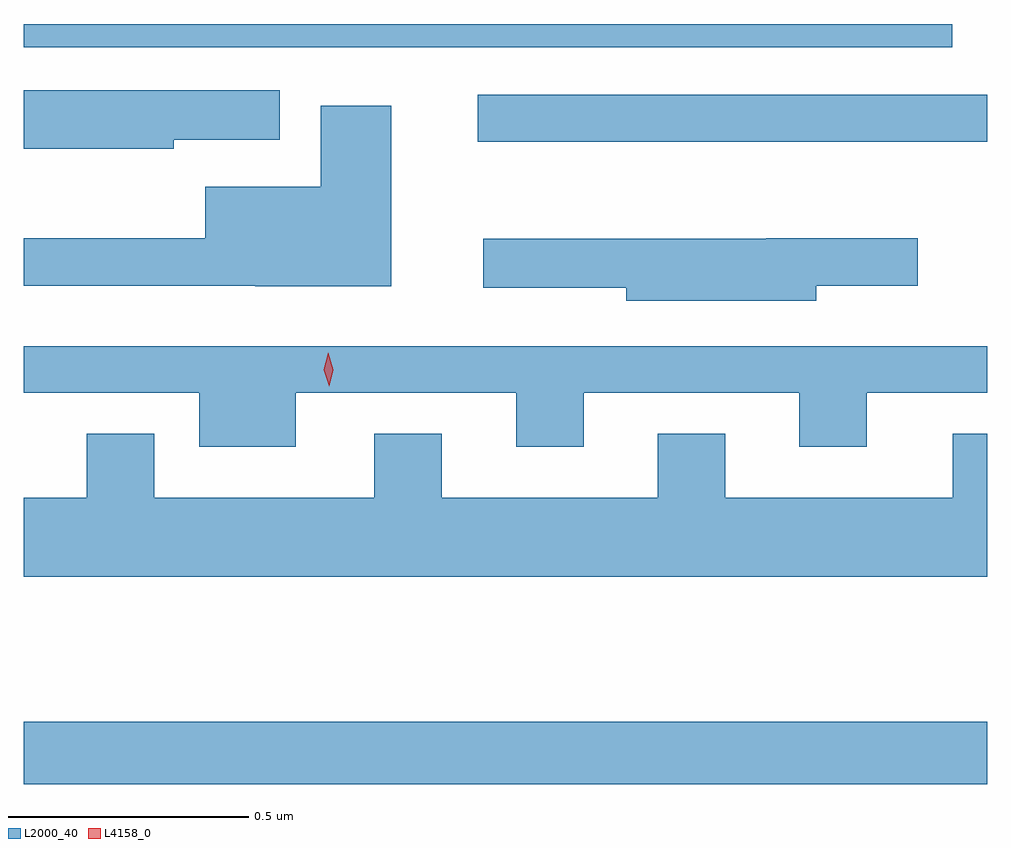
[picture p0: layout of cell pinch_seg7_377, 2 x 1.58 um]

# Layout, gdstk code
import gdstk
lib = gdstk.Library(unit=1e-6, precision=1e-09)
def R(c, l, rs):  # rectangles x0, y0, x1, y1
    for r in rs: c.add(gdstk.rectangle(r[:2], r[2:], *l))
def P(c, l, *ps):  # polygons
    for p in ps: c.add(gdstk.Polygon(p, *l))
L2000_40 = (2000, 40)
L4158_0 = (4158, 0)

pinch_seg7_377 = lib.new_cell('pinch_seg7_377')
R(pinch_seg7_377, L2000_40, [(443.133,1002.85,445.133,1002.979), (444.075,1004.183,445.133,1004.28), (443.133,1004.379,445.06,1004.427)])
P(pinch_seg7_377, L2000_40, [(443.445,1004.187),(443.665,1004.187),(443.665,1004.29),(443.133,1004.29),(443.133,1004.168),(443.445,1004.168)],
  [(443.896,1004.257),(443.75,1004.257),(443.75,1004.089),(443.51,1004.089),(443.51,1003.982),(443.133,1003.982),(443.133,1003.884),(443.614,1003.884),(443.614,1003.883),(443.896,1003.883)],
  [(444.778,1003.884),(444.988,1003.884),(444.988,1003.982),(444.674,1003.982),(444.674,1003.981),(444.087,1003.981),(444.087,1003.88),(444.384,1003.88),(444.384,1003.853),(444.778,1003.853)],
  [(443.698,1003.662),(444.155,1003.662),(444.155,1003.55),(444.295,1003.55),(444.295,1003.662),(444.743,1003.662),(444.743,1003.55),(444.883,1003.55),(444.883,1003.662),(445.133,1003.662),(445.133,1003.758),(443.133,1003.758),(443.133,1003.662),(443.498,1003.662),(443.498,1003.55),(443.698,1003.55)],
  [(445.133,1003.577),(445.061,1003.577),(445.061,1003.444),(444.589,1003.444),(444.589,1003.577),(444.449,1003.577),(444.449,1003.444),(444.001,1003.444),(444.001,1003.577),(443.861,1003.577),(443.861,1003.444),(443.404,1003.444),(443.404,1003.577),(443.264,1003.577),(443.264,1003.444),(443.133,1003.444),(443.133,1003.28),(445.133,1003.28)])
P(pinch_seg7_377, L4158_0, [(443.767,1003.675),(443.767,1003.675),(443.756,1003.71),(443.765,1003.745),(443.765,1003.745),(443.765,1003.745),(443.776,1003.71),(443.767,1003.675)])

lib.write_gds('pinch_seg7_377.gds')
